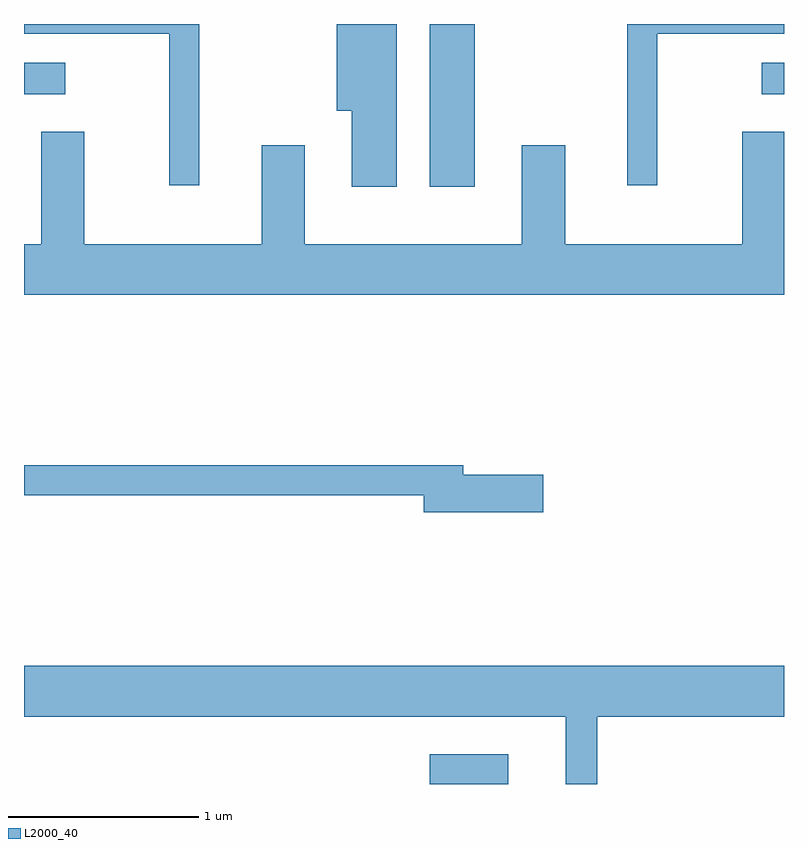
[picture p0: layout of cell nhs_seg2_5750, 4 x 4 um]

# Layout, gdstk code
import gdstk
lib = gdstk.Library(unit=1e-6, precision=1e-09)
def R(c, l, rs):  # rectangles x0, y0, x1, y1
    for r in rs: c.add(gdstk.rectangle(r[:2], r[2:], *l))
def P(c, l, *ps):  # polygons
    for p in ps: c.add(gdstk.Polygon(p, *l))
L2000_40 = (2000, 40)

nhs_seg2_5750 = lib.new_cell('nhs_seg2_5750')
R(nhs_seg2_5750, L2000_40, [(357.746,985.802,358.159,985.959), (357.746,988.946,357.984,989.802), (355.611,989.431,355.828,989.599), (359.493,989.431,359.611,989.599)])
P(nhs_seg2_5750, L2000_40, [(356.534,989.802),(355.611,989.802),(355.611,989.751),(356.376,989.751),(356.376,988.953),(356.534,988.953)],
  [(357.574,989.802),(357.256,989.802),(357.256,989.346),(357.336,989.346),(357.336,988.946),(357.574,988.946)],
  [(358.944,989.751),(359.611,989.751),(359.611,989.802),(358.786,989.802),(358.786,988.953),(358.944,988.953)],
  [(359.611,989.234),(359.391,989.234),(359.391,988.644),(358.459,988.644),(358.459,989.164),(358.231,989.164),(358.231,988.644),(357.089,988.644),(357.089,989.164),(356.861,989.164),(356.861,988.644),(355.929,988.644),(355.929,989.234),(355.701,989.234),(355.701,988.644),(355.611,988.644),(355.611,988.376),(359.611,988.376)],
  [(358.344,987.429),(357.924,987.429),(357.924,987.479),(355.611,987.479),(355.611,987.321),(357.716,987.321),(357.716,987.231),(358.344,987.231)],
  [(358.629,986.156),(359.611,986.156),(359.611,986.424),(355.611,986.424),(355.611,986.156),(358.461,986.156),(358.461,985.802),(358.629,985.802)])

lib.write_gds('nhs_seg2_5750.gds')
